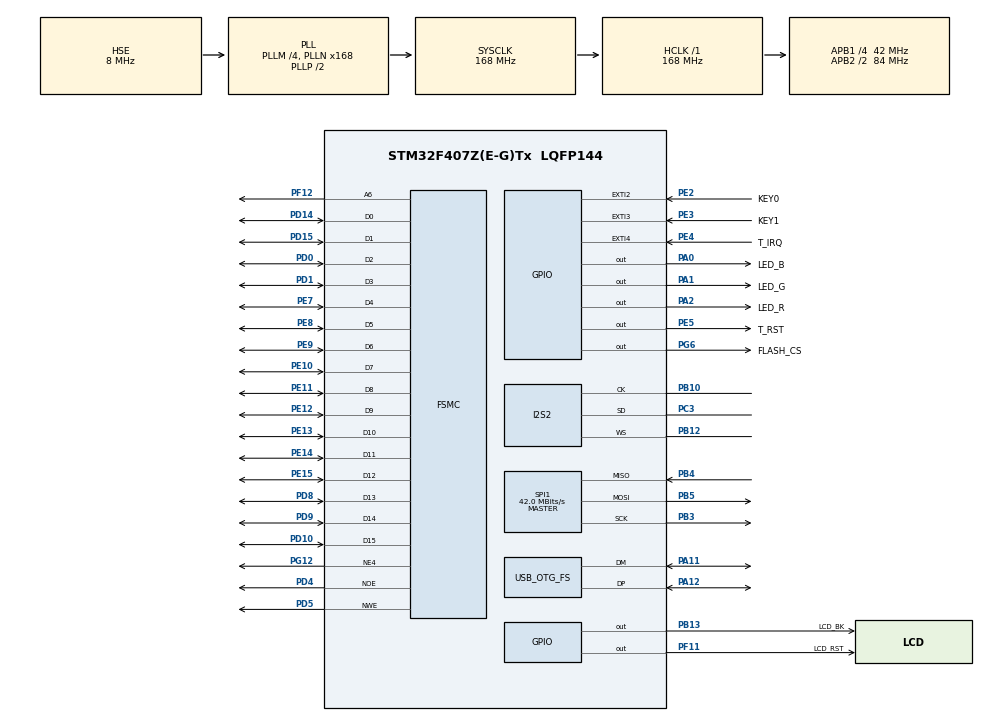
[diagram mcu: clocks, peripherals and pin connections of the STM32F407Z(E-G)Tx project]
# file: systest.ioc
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Dma.Request0=SPI2_RX
Dma.Request1=SPI1_RX
Dma.Request2=SPI1_TX
Dma.SPI1_RX.1.Direction=DMA_PERIPH_TO_MEMORY
Dma.SPI1_RX.1.FIFOMode=DMA_FIFOMODE_DISABLE
Dma.SPI1_RX.1.Instance=DMA2_Stream0
Dma.SPI1_RX.1.MemDataAlignment=DMA_MDATAALIGN_BYTE
Dma.SPI1_RX.1.MemInc=DMA_MINC_ENABLE
Dma.SPI1_RX.1.Mode=DMA_CIRCULAR
Dma.SPI1_RX.1.PeriphDataAlignment=DMA_PDATAALIGN_BYTE
Dma.SPI1_RX.1.PeriphInc=DMA_PINC_DISABLE
Dma.SPI1_RX.1.Priority=DMA_PRIORITY_LOW
Dma.SPI1_TX.2.Direction=DMA_MEMORY_TO_PERIPH
Dma.SPI1_TX.2.FIFOMode=DMA_FIFOMODE_DISABLE
Dma.SPI1_TX.2.Instance=DMA2_Stream3
Dma.SPI1_TX.2.MemDataAlignment=DMA_MDATAALIGN_BYTE
Dma.SPI1_TX.2.MemInc=DMA_MINC_ENABLE
Dma.SPI1_TX.2.Mode=DMA_CIRCULAR
Dma.SPI1_TX.2.PeriphDataAlignment=DMA_PDATAALIGN_BYTE
Dma.SPI1_TX.2.PeriphInc=DMA_PINC_DISABLE
Dma.SPI1_TX.2.Priority=DMA_PRIORITY_LOW
Dma.SPI2_RX.0.Direction=DMA_PERIPH_TO_MEMORY
Dma.SPI2_RX.0.FIFOMode=DMA_FIFOMODE_DISABLE
Dma.SPI2_RX.0.Instance=DMA1_Stream3
Dma.SPI2_RX.0.MemDataAlignment=DMA_MDATAALIGN_WORD
Dma.SPI2_RX.0.MemInc=DMA_MINC_ENABLE
Dma.SPI2_RX.0.Mode=DMA_CIRCULAR
Dma.SPI2_RX.0.PeriphDataAlignment=DMA_PDATAALIGN_WORD
Dma.SPI2_RX.0.PeriphInc=DMA_PINC_DISABLE
Dma.SPI2_RX.0.Priority=DMA_PRIORITY_LOW
FSMC.AddressSetupTime1=15
FSMC.BusTurnAroundDuration1=0
FSMC.DataSetupTime1=9
FSMC.ExtendedAddressSetupTime1=8
FSMC.ExtendedDataSetupTime1=9
FSMC.ExtendedMode1=FSMC_EXTENDED_MODE_ENABLE
I2S2.AudioFreq=I2S_AUDIOFREQ_16K
I2S2.DataFormat=I2S_DATAFORMAT_24B
I2S2.ErrorAudioFreq=-0.35 %
I2S2.FullDuplexMode=I2S_FULLDUPLEXMODE_DISABLE
I2S2.Instance=SPI$Index
I2S2.Mode=I2S_MODE_MASTER_RX
I2S2.RealAudioFreq=15.943 KHz
I2S2.VirtualMode=I2S_MODE_MASTER
Mcu.Family=STM32F4
Mcu.Name=STM32F407Z(E-G)Tx
Mcu.Package=LQFP144
NVIC.DMA1_Stream3_IRQn=true\:0\:0\:false\:false\:true\:false\:true\:true
NVIC.DMA2_Stream0_IRQn=true\:0\:0\:false\:false\:true\:false\:true\:true
NVIC.DMA2_Stream3_IRQn=true\:0\:0\:false\:false\:true\:false\:true\:true
NVIC.EXTI2_IRQn=true\:0\:0\:false\:false\:true\:true\:true\:true
NVIC.EXTI3_IRQn=true\:0\:0\:false\:false\:true\:true\:true\:true
NVIC.EXTI4_IRQn=true\:0\:0\:false\:false\:true\:true\:true\:true
NVIC.OTG_FS_IRQn=true\:0\:0\:false\:false\:true\:false\:true\:true
NVIC.PriorityGroup=NVIC_PRIORITYGROUP_4
PA0-WKUP.GPIO_Label=LED_B
PA0-WKUP.PinState=GPIO_PIN_SET
PA0-WKUP.Signal=GPIO_Output
PA1.GPIO_Label=LED_G
PA1.PinState=GPIO_PIN_SET
PA1.Signal=GPIO_Output
PA11.Mode=Device_Only
PA11.Signal=USB_OTG_FS_DM
PA12.Mode=Device_Only
PA12.Signal=USB_OTG_FS_DP
PA13.Mode=Serial_Wire
PA13.Signal=SYS_JTMS-SWDIO
PA14.Mode=Serial_Wire
PA14.Signal=SYS_JTCK-SWCLK
PA2.GPIO_Label=LED_R
PA2.PinState=GPIO_PIN_SET
PA2.Signal=GPIO_Output
PB10.Mode=Half_Duplex_Master
PB10.Signal=I2S2_CK
PB12.Mode=Half_Duplex_Master
PB12.Signal=I2S2_WS
PB13.GPIO_Label=LCD_BK
PB13.GPIO_PuPd=GPIO_NOPULL
PB13.PinState=GPIO_PIN_SET
PB13.Signal=GPIO_Output
PB3.Mode=Full_Duplex_Master
PB3.Signal=SPI1_SCK
PB4.Mode=Full_Duplex_Master
PB4.Signal=SPI1_MISO
PB5.Mode=Full_Duplex_Master
PB5.Signal=SPI1_MOSI
PC3.Mode=Half_Duplex_Master
PC3.Signal=I2S2_SD
PD0.Signal=FSMC_D2_DA2
PD1.Signal=FSMC_D3_DA3
PD10.Signal=FSMC_D15_DA15
PD14.Signal=FSMC_D0_DA0
PD15.Signal=FSMC_D1_DA1
PD4.Signal=FSMC_NOE
PD5.Signal=FSMC_NWE
PD8.Signal=FSMC_D13_DA13
PD9.Signal=FSMC_D14_DA14
PE10.Signal=FSMC_D7_DA7
PE11.Signal=FSMC_D8_DA8
PE12.Signal=FSMC_D9_DA9
PE13.Signal=FSMC_D10_DA10
PE14.Signal=FSMC_D11_DA11
PE15.Signal=FSMC_D12_DA12
PE2.GPIO_Label=KEY0
PE2.GPIO_ModeDefaultEXTI=GPIO_MODE_IT_RISING_FALLING
PE2.GPIO_PuPd=GPIO_PULLUP
PE2.Signal=GPXTI2
PE3.GPIO_Label=KEY1
PE3.Signal=GPXTI3
PE4.GPIO_Label=T_IRQ
PE4.Signal=GPXTI4
PE5.GPIO_Label=T_RST
PE5.PinState=GPIO_PIN_SET
PE5.Signal=GPIO_Output
PE7.Signal=FSMC_D4_DA4
PE8.Signal=FSMC_D5_DA5
PE9.Signal=FSMC_D6_DA6
PF11.GPIO_Label=LCD_RST
PF11.PinState=GPIO_PIN_SET
PF11.Signal=GPIO_Output
PF12.Signal=FSMC_A6
PG12.Mode=NorPsramChipSelect4_1
PG12.Signal=FSMC_NE4
PG6.GPIO_Label=FLASH_CS
PG6.PinState=GPIO_PIN_SET
PG6.Signal=GPIO_Output
PH0-OSC_IN.Mode=HSE-External-Oscillator
PH0-OSC_IN.Signal=RCC_OSC_IN
PH1-OSC_OUT.Mode=HSE-External-Oscillator
PH1-OSC_OUT.Signal=RCC_OSC_OUT
ProjectManager.HeapSize=0x800
ProjectManager.StackSize=0x800
ProjectManager.TargetToolchain=STM32CubeIDE
RCC.48MHZClocksFreq_Value=48000000
RCC.AHBFreq_Value=168000000
RCC.APB1CLKDivider=RCC_HCLK_DIV4
RCC.APB1Freq_Value=42000000
RCC.APB1TimFreq_Value=84000000
RCC.APB2CLKDivider=RCC_HCLK_DIV2
RCC.APB2Freq_Value=84000000
RCC.APB2TimFreq_Value=168000000
RCC.CortexFreq_Value=168000000
RCC.HCLKFreq_Value=168000000
RCC.HSE_VALUE=8000000
RCC.HSI_VALUE=16000000
RCC.LSE_VALUE=32768
RCC.PLLI2SN=50
RCC.PLLM=4
RCC.PLLN=168
RCC.PLLQ=7
RCC.SYSCLKFreq_VALUE=168000000
RCC.SYSCLKSource=RCC_SYSCLKSOURCE_PLLCLK
RCC.VCOOutputFreq_Value=336000000
SH.FSMC_A6.0=FSMC_A6,A6_1
SH.FSMC_D0_DA0.0=FSMC_D0,16b-d1
SH.FSMC_D10_DA10.0=FSMC_D10,16b-d1
SH.FSMC_D11_DA11.0=FSMC_D11,16b-d1
SH.FSMC_D12_DA12.0=FSMC_D12,16b-d1
SH.FSMC_D13_DA13.0=FSMC_D13,16b-d1
SH.FSMC_D14_DA14.0=FSMC_D14,16b-d1
SH.FSMC_D15_DA15.0=FSMC_D15,16b-d1
SH.FSMC_D1_DA1.0=FSMC_D1,16b-d1
SH.FSMC_D2_DA2.0=FSMC_D2,16b-d1
SH.FSMC_D3_DA3.0=FSMC_D3,16b-d1
SH.FSMC_D4_DA4.0=FSMC_D4,16b-d1
SH.FSMC_D5_DA5.0=FSMC_D5,16b-d1
SH.FSMC_D6_DA6.0=FSMC_D6,16b-d1
SH.FSMC_D7_DA7.0=FSMC_D7,16b-d1
SH.FSMC_D8_DA8.0=FSMC_D8,16b-d1
SH.FSMC_D9_DA9.0=FSMC_D9,16b-d1
SH.FSMC_NOE.0=FSMC_NOE,Lcd1
SH.FSMC_NWE.0=FSMC_NWE,Lcd1
SPI1.CalculateBaudRate=42.0 MBits/s
SPI1.Direction=SPI_DIRECTION_2LINES
SPI1.Mode=SPI_MODE_MASTER
SPI1.VirtualType=VM_MASTER
STMicroelectronics.X-CUBE-AI.8.1.0.ActivationBufferSizeList=13408
STMicroelectronics.X-CUBE-AI.8.1.0.ActivationBuffers=pool0
STMicroelectronics.X-CUBE-AI.8.1.0.ActivationNames=pool0
STMicroelectronics.X-CUBE-AI.8.1.0.ActivationSizes=AI_CAT_SOUND_CLS_DATA_ACTIVATION_1_SIZE
STMicroelectronics.X-CUBE-AI.8.1.0.HeapSize=0x800
STMicroelectronics.X-CUBE-AI.8.1.0.InternalRamActivationBufferMaxSize=AI_CAT_SOUND_CLS_DATA_ACTIVATIONS_SIZE
STMicroelectronics.X-CUBE-AI.8.1.0.MaximumNumberOfInputLayer=1
STMicroelectronics.X-CUBE-AI.8.1.0.MaximumNumberOfOutputLayer=1
STMicroelectronics.X-CUBE-AI.8.1.0.MaximumSizeOfInputLayer=1
STMicroelectronics.X-CUBE-AI.8.1.0.MaximumSizeOfOutputLayer=1
STMicroelectronics.X-CUBE-AI.8.1.0.ModelActualCompression-502e732b3e972c652947555143b877ab43ce38154a46b5465676fd8f982b50c7=7.87
STMicroelectronics.X-CUBE-AI.8.1.0.ModelCompression-502e732b3e972c652947555143b877ab43ce38154a46b5465676fd8f982b50c7=Medium
STMicroelectronics.X-CUBE-AI.8.1.0.ModelFlashOccupation-502e732b3e972c652947555143b877ab43ce38154a46b5465676fd8f982b50c7=367288
STMicroelectronics.X-CUBE-AI.8.1.0.ModelHashList=502e732b3e972c652947555143b877ab43ce38154a46b5465676fd8f982b50c7
STMicroelectronics.X-CUBE-AI.8.1.0.ModelKind-502e732b3e972c652947555143b877ab43ce38154a46b5465676fd8f982b50c7=KERAS
STMicroelectronics.X-CUBE-AI.8.1.0.ModelMacc-502e732b3e972c652947555143b877ab43ce38154a46b5465676fd8f982b50c7=700576
STMicroelectronics.X-CUBE-AI.8.1.0.ModelName-502e732b3e972c652947555143b877ab43ce38154a46b5465676fd8f982b50c7=cat_sound_cls
STMicroelectronics.X-CUBE-AI.8.1.0.ModelNameList=cat_sound_cls
STMicroelectronics.X-CUBE-AI.8.1.0.ModelRamOccupation-502e732b3e972c652947555143b877ab43ce38154a46b5465676fd8f982b50c7=13408
STMicroelectronics.X-CUBE-AI.8.1.0.ModelStructureFile-502e732b3e972c652947555143b877ab43ce38154a46b5465676fd8f982b50c7=/home/pansamic/Develop/Machine-Learning/cat-sound-cls/cat_sound_classification_model.h5
STMicroelectronics.X-CUBE-AI.8.1.0.ModelType-502e732b3e972c652947555143b877ab43ce38154a46b5465676fd8f982b50c7=Saved model
STMicroelectronics.X-CUBE-AI.8.1.0.ReadyForCodeGeneration=true
STMicroelectronics.X-CUBE-AI.8.1.0.StackSize=0x800
STMicroelectronics.X-CUBE-AI.8.1.0.WorkingBufferStartAddrList=0xFFFFFFFF
STMicroelectronics.X-CUBE-AI.8.1.0.XAaCUBEAaAICcArtificialOoIntelligenceJjCore=true
STMicroelectronics.X-CUBE-AI.8.1.0.copyWeightToRam-502e732b3e972c652947555143b877ab43ce38154a46b5465676fd8f982b50c7=false
STMicroelectronics.X-CUBE-AI.8.1.0.customLayerConfigEnabled-502e732b3e972c652947555143b877ab43ce38154a46b5465676fd8f982b50c7=false
STMicroelectronics.X-CUBE-AI.8.1.0.noOnnxIoTranspose-502e732b3e972c652947555143b877ab43ce38154a46b5465676fd8f982b50c7=false
STMicroelectronics.X-CUBE-AI.8.1.0.outputDirectory-502e732b3e972c652947555143b877ab43ce38154a46b5465676fd8f982b50c7=/home/pansamic/.stm32cubemx/cat_sound_cls_output
STMicroelectronics.X-CUBE-AI.8.1.0.useInputAllocation-502e732b3e972c652947555143b877ab43ce38154a46b5465676fd8f982b50c7=true
STMicroelectronics.X-CUBE-AI.8.1.0.useOutputAllocation-502e732b3e972c652947555143b877ab43ce38154a46b5465676fd8f982b50c7=true
STMicroelectronics.X-CUBE-ALGOBUILD.1.3.0.LibraryCcDSPOoLibraryJjDSPOoLibrary=true
USB_DEVICE.APP_RX_DATA_SIZE-CDC_FS=512
USB_DEVICE.APP_TX_DATA_SIZE-CDC_FS=512
USB_DEVICE.CLASS_NAME_FS=CDC
USB_DEVICE.VirtualMode-CDC_FS=Cdc
USB_DEVICE.VirtualModeFS=Cdc_FS
USB_OTG_FS.VirtualMode=Device_Only
VP_CRC_VS_CRC.Mode=CRC_Activate
VP_STMicroelectronics.X-CUBE-AI_VS_ArtificialOoIntelligenceJjXAaCUBEAaAI_8.1.0.Mode=ArtificialOoIntelligenceJjXAaCUBEAaAI
VP_STMicroelectronics.X-CUBE-ALGOBUILD_VS_DSPOoLibraryJjLibrary_1.3.0_1.3.0.Mode=DSPOoLibraryJjLibrary
VP_USB_DEVICE_VS_USB_DEVICE_CDC_FS.Mode=CDC_FS
board=custom

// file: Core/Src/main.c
/* USER CODE BEGIN Header */
/**
  ******************************************************************************
  * @file           : main.c
  * @brief          : Main program body
  ******************************************************************************
  * @attention
  *
  * Copyright (c) 2023 STMicroelectronics.
  * All rights reserved.
  *
  * This software is licensed under terms that can be found in the LICENSE file
  * in the root directory of this software component.
  * If no LICENSE file comes with this software, it is provided AS-IS.
  *
  ******************************************************************************
  */
/* USER CODE END Header */
#include "main.h"
#include "crc.h"
#include "dma.h"
#include "i2s.h"
#include "spi.h"
#include "usb_device.h"
#include "gpio.h"
#include "fsmc.h"

/* USER CODE BEGIN Includes */
// #define __FPU_PRESENT 1
#include <stdio.h>
#include <stdlib.h>
#include <string.h>
#include <stdarg.h>
#include <sys/stat.h>
#include <unistd.h>
#include <errno.h>
#include "arm_math.h"
#include "cat_sound_cls.h"
#include "cat_sound_cls_data.h"
#include "usbd_cdc_if.h"
#include "st7789.h"
#include "mfcc.h"
#include "ppbuf.h"
#include "w25qxx.h"
/* USER CODE END Includes */

/* USER CODE BEGIN PD */
#define I2S_BUFFER1_SIZE      (4096) // unit:byte
#define I2S_BUFFER2_SIZE      (4096) // unit:byte

#define FLASH_CAPACITY        (0x01000000) // unit:byte
#define FLASH_BLOCK_CAPACITY  (0X00010000) // unit:byte
#define FLASH_SECTOR_CAPACITY (0X00001000) // unit:byte
#define FLASH_PAGE_CAPACITY   (0X00000100) // unit:byte
#define FLASH_MAX_RECV_COUNT  (FLASH_CAPACITY/FLASH_SECTOR_CAPACITY)

#define SIGNAL_I2S_RECV_DONE  (0X00000001)
#define SIGNAL_I2S_RECV_STOP  (0X00000002)
#define SIGNAL_KEY0_PRESS     (0X00000004)
#define SIGNAL_KEY0_RELEASE   (0X00000008)
#define SIGNAL_KEY1_PRESS     (0X00000010)
#define SIGNAL_KEY1_RELEASE   (0X00000020)

#define EXAM_FLASH_OK         (0X01)
#define EXAM_AI_OK            (0X02)
#define EXAM_I2S_OK           (0X04)
#define EXAM_LCD_OK           (0X08)
#define EXAM_KEY_OK           (0X10)

/* USER CODE END PD */

/* USER CODE BEGIN PV */
char debug_print_buffer[128];
const char* cat_sound_map[] = {
    "angry",
    "defense",
    "fighting",
    "happy",
    "huntingmind",
    "mating",
    "mothercall",
    "paining",
    "resting",
    "warning"
};

uint8_t ai_result = 0;

// Chunk of memory used to hold intermediate values for neural network
AI_ALIGNED(4) ai_u8 activations[AI_CAT_SOUND_CLS_DATA_ACTIVATIONS_SIZE]__attribute((section(".ccmram")))={0};

// Buffers used to store input and output tensors
AI_ALIGNED(4) float in_data[AI_CAT_SOUND_CLS_IN_1_SIZE]__attribute((section(".ccmram")))={0};
AI_ALIGNED(4) float out_data[AI_CAT_SOUND_CLS_OUT_1_SIZE]__attribute((section(".ccmram")))={0};

// Pointer to our model
ai_handle cat_sound_cls_model = AI_HANDLE_NULL;

// Initialize wrapper structs that hold pointers to data and info about the
// data (tensor height, width, channels)
ai_buffer ai_input[AI_CAT_SOUND_CLS_IN_NUM]__attribute((section(".ccmram")))={0};
ai_buffer ai_output[AI_CAT_SOUND_CLS_OUT_NUM]__attribute((section(".ccmram")))={0};

// Set working memory and get weights/biases from model
ai_network_params ai_params __attribute((section(".ccmram")))={0};

uint8_t i2s_buffer_1[I2S_BUFFER1_SIZE]; // real audio data is quarter of the buffer.
int16_t audio[256*160]={0};
uint32_t sample_count = 0;

volatile uint8_t state_key = 0;
volatile uint8_t state_i2s = 0;

uint8_t exam_result = 0;

/* USER CODE END PV */

void SystemClock_Config(void);

int main(void)
{

  /* MCU Configuration--------------------------------------------------------*/

  /* Reset of all peripherals, Initializes the Flash interface and the Systick. */
  HAL_Init();

  /* Configure the system clock */
  SystemClock_Config();

  /* Initialize all configured peripherals */
  MX_GPIO_Init();
  MX_DMA_Init();
  MX_I2S2_Init();
  MX_FSMC_Init();
  MX_SPI1_Init();
  MX_CRC_Init();
  MX_USB_DEVICE_Init();
  /* USER CODE BEGIN 2 */

  /**
   * receive MFCCs from PC
   */
  CDC_Receive((uint8_t*)in_data, AI_CAT_SOUND_CLS_IN_1_SIZE_BYTES);
  ai_cat_sound_cls_run(cat_sound_cls_model, &ai_input[0], &ai_output[0]);
  CDC_Transmit_FS((uint8_t*)out_data, AI_CAT_SOUND_CLS_OUT_1_SIZE_BYTES);

  mfcc_init();
  if(W25qxx_Init())
  {
    exam_result |= EXAM_FLASH_OK;
  }
  /**
   * @brief Send W25Q128 initialization result to PC
   *
   */
  CDC_Transmit_FS(&exam_result, 1);
  lcddrv_Init();
  exam_result |= EXAM_LCD_OK;
  lcddrv_DispOn();
  lcddrv_FillColorPre(0,0,LCD_WIDTH,LCD_HEIGHT);

  /**
   * @brief send LCD initialization result to PC
   *
   */
  CDC_Transmit_FS(&exam_result, 1);

  debug_lcd_printf("cat sound classification");
  ai_error err = ai_cat_sound_cls_create(&cat_sound_cls_model, (ai_buffer*)AI_CAT_SOUND_CLS_DATA_CONFIG);
  if (err.type != AI_ERROR_NONE)
  {
    debug_lcd_printf("Neural network creation error - type = %lu, code = %lu\r\n", err.type, err.code);
    while(1){}
  }
  ai_network_params params;
  params.params = AI_CAT_SOUND_CLS_DATA_WEIGHTS(ai_cat_sound_cls_data_weights_get());
  params.activations = AI_CAT_SOUND_CLS_DATA_ACTIVATIONS(activations);

  if (!ai_cat_sound_cls_init(cat_sound_cls_model, &params))
  {
    debug_lcd_printf("Error: could not initialize network.");
  }
  ai_input[0].data = AI_HANDLE_PTR(in_data);
  ai_input[0].format = AI_BUFFER_FORMAT_FLOAT;
  ai_output[0].data = AI_HANDLE_PTR(out_data);
  exam_result |= EXAM_AI_OK;
  /**
   * @brief send AI initialization result to PC
   */
  CDC_Transmit_FS(&exam_result, 1);

  /**
   * wait for key to trigger start
   */
  while(state_key != SIGNAL_KEY0_RELEASE){}
  exam_result |= EXAM_KEY_OK;
  /* reset state machine */
  state_key = 0;
  /* reset audio size */
  sample_count = 0;
  /**
   * @brief send key status to PC
   */
  CDC_Transmit_FS(&exam_result, 1);

  /* Blue LED on */
  HAL_GPIO_WritePin(LED_B_GPIO_Port, LED_B_Pin, GPIO_PIN_RESET);
  HAL_GPIO_WritePin(LED_G_GPIO_Port, LED_G_Pin, GPIO_PIN_SET);

  /* LCD display shows string */
  debug_lcd_printf("start recording");

  while(sample_count < sizeof(audio)/sizeof(int16_t))
  {
    /**
     * division by 4 because DMA transfer frame in word(32 bits),
     * but capacity is in byte.
     * a sample contains 4 frames(2 for left channel, 2 for right channel),
     * and a frame contains 4 bytes(DMA frame size is set to WORD).
     */
    HAL_I2S_Receive_DMA(&hi2s2,(uint16_t*)i2s_buffer_1, sizeof(i2s_buffer_1)/sizeof(uint32_t));
    while(state_i2s != SIGNAL_I2S_RECV_DONE){}
    state_i2s = 0;
    exam_result |= EXAM_I2S_OK;
    /**
     * @brief send I2S status to PC
     */
    static uint8_t i2s_status_send_flag = 0;
    if(i2s_status_send_flag == 0)
    {
      CDC_Transmit_FS(&exam_result, 1);
      i2s_status_send_flag = 1;
    }

    uint16_t new_sample = sizeof(i2s_buffer_1)/sizeof(uint32_t)/4;
    int16_t *pconvert = (int16_t*)i2s_buffer_1;
    for(uint32_t i=0 ; i<new_sample ; i++)
    {
        audio[sample_count+i] = *(pconvert+i*8);
    }
    sample_count += new_sample;

    if(sample_count >= sizeof(audio)/sizeof(int16_t))
    {
        int32_t remaining_bytes = sizeof(audio);
        while(remaining_bytes > 0)
        {
            CDC_Transmit_FS(((uint8_t*)audio)+(sizeof(audio)-remaining_bytes), 256);
            remaining_bytes -= 256;
        }
        HAL_GPIO_WritePin(LED_B_GPIO_Port, LED_B_Pin, GPIO_PIN_SET);
        HAL_GPIO_WritePin(LED_G_GPIO_Port, LED_G_Pin, GPIO_PIN_RESET);
    }
  }
  W25qxx_EraseSector(0);
  W25qxx_WriteSector((uint8_t*)audio, 0, 0, FLASH_SECTOR_CAPACITY);
  W25qxx_ReadSector((uint8_t*)i2s_buffer_1, 0, 0, FLASH_SECTOR_CAPACITY);
  if(memcmp(audio, i2s_buffer_1, FLASH_SECTOR_CAPACITY) == 0)
  {
    exam_result |= EXAM_FLASH_OK;
  }
  else
  {
    exam_result &= ~EXAM_FLASH_OK;
  }
  CDC_Transmit_FS(&exam_result, 1);

  /* USER CODE END 2 */

  /* Infinite loop */
  while (1)
  {

  }
}

void SystemClock_Config(void)
{
  RCC_OscInitTypeDef RCC_OscInitStruct = {0};
  RCC_ClkInitTypeDef RCC_ClkInitStruct = {0};

  /** Configure the main internal regulator output voltage
  */
  __HAL_RCC_PWR_CLK_ENABLE();
  __HAL_PWR_VOLTAGESCALING_CONFIG(PWR_REGULATOR_VOLTAGE_SCALE1);

  /** Initializes the RCC Oscillators according to the specified parameters
  * in the RCC_OscInitTypeDef structure.
  */
  RCC_OscInitStruct.OscillatorType = RCC_OSCILLATORTYPE_HSE;
  RCC_OscInitStruct.HSEState = RCC_HSE_ON;
  RCC_OscInitStruct.PLL.PLLState = RCC_PLL_ON;
  RCC_OscInitStruct.PLL.PLLSource = RCC_PLLSOURCE_HSE;
  RCC_OscInitStruct.PLL.PLLM = 4;
  RCC_OscInitStruct.PLL.PLLN = 168;
  RCC_OscInitStruct.PLL.PLLP = RCC_PLLP_DIV2;
  RCC_OscInitStruct.PLL.PLLQ = 7;
  if (HAL_RCC_OscConfig(&RCC_OscInitStruct) != HAL_OK)
  {
    Error_Handler();
  }

  /** Initializes the CPU, AHB and APB buses clocks
  */
  RCC_ClkInitStruct.ClockType = RCC_CLOCKTYPE_HCLK|RCC_CLOCKTYPE_SYSCLK
                              |RCC_CLOCKTYPE_PCLK1|RCC_CLOCKTYPE_PCLK2;
  RCC_ClkInitStruct.SYSCLKSource = RCC_SYSCLKSOURCE_PLLCLK;
  RCC_ClkInitStruct.AHBCLKDivider = RCC_SYSCLK_DIV1;
  RCC_ClkInitStruct.APB1CLKDivider = RCC_HCLK_DIV4;
  RCC_ClkInitStruct.APB2CLKDivider = RCC_HCLK_DIV2;

  if (HAL_RCC_ClockConfig(&RCC_ClkInitStruct, FLASH_LATENCY_5) != HAL_OK)
  {
    Error_Handler();
  }
}

/* USER CODE BEGIN 4 */

void HAL_GPIO_EXTI_Callback(uint16_t GPIO_Pin)
{
  if(GPIO_Pin==KEY0_Pin)
  {
    if(KEY0_GPIO_Port->IDR & KEY0_Pin)
      state_key = SIGNAL_KEY0_RELEASE;
    else
      state_key = SIGNAL_KEY0_PRESS;
  }
  else if(GPIO_Pin==KEY1_Pin)
  {
    if(KEY1_GPIO_Port->IDR & KEY1_Pin)
      state_key = SIGNAL_KEY1_RELEASE;
    else
      state_key = SIGNAL_KEY1_PRESS;
  }
}
void HAL_I2S_RxCpltCallback(I2S_HandleTypeDef *hi2s)
{
  state_i2s = SIGNAL_I2S_RECV_DONE;
}

void debug_lcd_printf(char* fmt, ...)
{
  va_list argptr;
  memset(debug_print_buffer,0,sizeof(debug_print_buffer));
  va_start(argptr, fmt);
  vsprintf(debug_print_buffer, fmt, argptr);
  va_end(argptr);
  lcddrv_FillColorPre(0,0,LCD_WIDTH,LCD_HEIGHT);
  for(uint32_t i=0 ; i<LCD_WIDTH*LCD_HEIGHT; i++)
    ST7789_RAM = 0xFFFF;
  lcddrv_ShowString(0,0,LCD_WIDTH,LCD_HEIGHT,16,(uint8_t*)debug_print_buffer,0x0000);
}

void debug_printf(char* fmt, ...)
{
  va_list argptr;
  memset(debug_print_buffer,0,sizeof(debug_print_buffer));
  va_start(argptr, fmt);
  vsprintf(debug_print_buffer, fmt, argptr);
  va_end(argptr);
  CDC_Transmit_FS((uint8_t*)debug_print_buffer, strlen(debug_print_buffer));
}

__attribute__((weak)) int _read(int file, char *ptr, int len)
{
    (void)file;

    return len;
}

__attribute__((weak)) int _write(int file, char *ptr, int len)
{
    (void)file;

    return len;
}

__attribute__((weak)) int _isatty(int fd)
{
    if (fd >= STDIN_FILENO && fd <= STDERR_FILENO)
        return 1;

    errno = EBADF;
    return 0;
}

__attribute__((weak)) int _close(int fd)
{
    if (fd >= STDIN_FILENO && fd <= STDERR_FILENO)
        return 0;

    errno = EBADF;
    return -1;
}

__attribute__((weak)) int _lseek(int fd, int ptr, int dir)
{
    (void)fd;
    (void)ptr;
    (void)dir;

    errno = EBADF;
    return -1;
}

__attribute__((weak)) int _fstat(int fd, struct stat *st)
{
    if (fd >= STDIN_FILENO && fd <= STDERR_FILENO)
    {
        st->st_mode = S_IFCHR;
        return 0;
    }

    errno = EBADF;
    return 0;
}

/* USER CODE END 4 */

void Error_Handler(void)
{
  __disable_irq();
  while (1)
  {
  }
}
